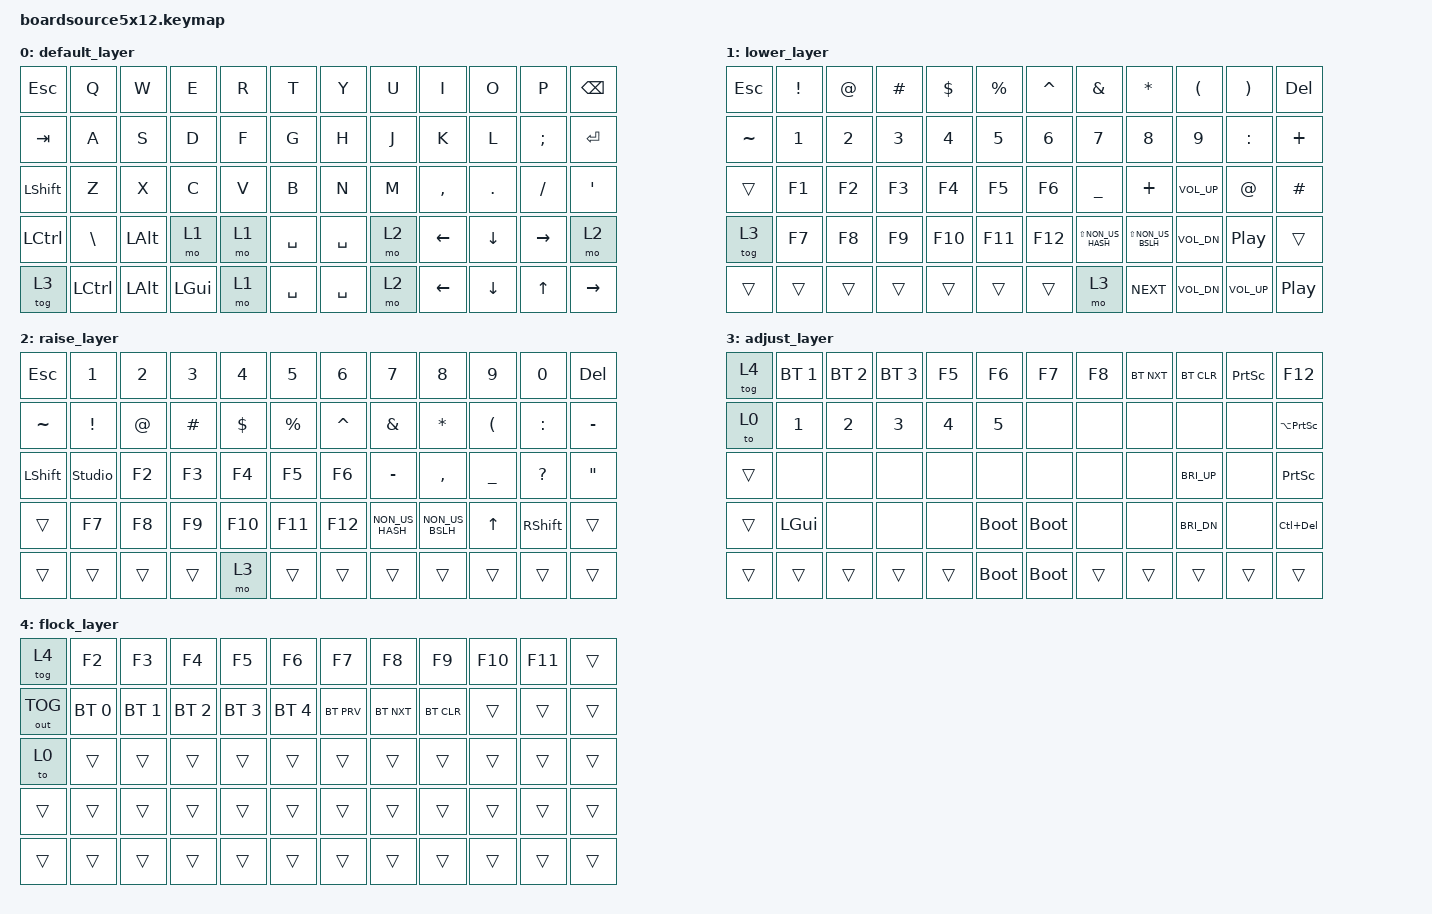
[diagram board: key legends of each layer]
/*
 * Copyright (c) 2021 The ZMK Contributors
 *
 * SPDX-License-Identifier: MIT
 */
 
#include <behaviors.dtsi>
#include <dt-bindings/zmk/keys.h>
#include <dt-bindings/zmk/bt.h>
#include <dt-bindings/zmk/outputs.h>


/ {
    keymap {
        compatible = "zmk,keymap";

        default_layer {
            // ------------------------------------------------------------------------------------------
            // |  ESC  |  Q   |  W   |  E    |  R   |  T   |   Y   |  U    |  I   |  O   |   P   | BSPC  |
            // |  TAB  |  A   |  S   |  D    |  F   |  G   |   H   |  J    |  K   |  L   |   ;   | ENTER |
            // | SHIFT |  Z   |  X   |  C    |  V   |  B   |   N   |  M    |  ,   |  .   |   /   |  '    |
            // | CTRL  |  \   | LALT | LOWR  | LOWR | SPACE| SPACE |  RAIS | LARW | DARW | RARW  | RAIS  |
            // | tog(3)| LCTL | LALT | LGUI  | LOWR | SPACE| SPACE |  RAIS | LARW | DARW | UARW  | RARW  |


            bindings = <
                &kp ESC    &kp Q        &kp W       &kp E    &kp R      &kp T       &kp Y       &kp U   &kp I       &kp O       &kp P       &kp BSPC
                &kp TAB    &kp A        &kp S       &kp D    &kp F      &kp G       &kp H       &kp J   &kp K       &kp L       &kp SEMI    &kp RET
                &kp LSHFT  &kp Z        &kp X       &kp C    &kp V      &kp B       &kp N       &kp M   &kp COMMA   &kp DOT     &kp FSLH    &kp SQT
                &kp LCTRL  &kp BSLH     &kp LALT    &mo 1    &mo 1      &kp SPACE   &kp SPACE   &mo 2   &kp LEFT    &kp DOWN    &kp RIGHT   &mo 2
                &tog 3      &kp LCTRL    &kp LALT    &kp LGUI &mo 1      &kp SPACE   &kp SPACE   &mo 2   &kp LEFT    &kp DOWN    &kp UP      &kp RIGHT 
            >;
        };

        lower_layer {
            // -------------------------------------------------------------------------------------------
            // |  ESC  |  !   |  @   |  #   |  $   |  %   |   ^   |   &   |  *   |  (   |   )   |  DEL  |
            // |   ~   |  1   |  2   |  3   |  4   |  5   |  6    |   7   |  8   |  9   |   :   |   +   |
            // |       |  F1  |  F2  |  F3  |  F4  |  F5  |   F6  |   _   |  +   | Vol+ |   @   |   #   |
            // | tog(3)|  F7  |  F8  |  F9  |  F10 |  F11 |   F12 | LS(#) |LS(|) | Vol- | PLAY  |       |
            // |       |      |      |      |      |      |       |       | NEXT | Vol- | Vol+  | PLAY  |
            bindings = <
                &kp ESC   &kp EXCL &kp AT   &kp HASH &kp DLLR  &kp PRCNT    &kp CARET       &kp AMPS            &kp ASTRK           &kp LPAR     &kp RPAR         &kp DEL
                &kp TILDE &kp N1   &kp N2   &kp N3   &kp N4    &kp N5       &kp N6          &kp N7              &kp N8              &kp N9       &kp COLON        &kp PLUS
                &trans    &kp F1   &kp F2   &kp F3   &kp F4    &kp F5       &kp F6          &kp UNDER           &kp PLUS            &kp C_VOL_UP &kp AT           &kp HASH
                &tog 3    &kp F7   &kp F8   &kp F9   &kp F10   &kp F11      &kp F12         &kp LS(NON_US_HASH) &kp LS(NON_US_BSLH) &kp C_VOL_DN &kp C_PLAY_PAUSE &trans
                &trans   &trans   &trans   &trans    &trans    &trans       &trans          &mo 3               &kp C_NEXT          &kp C_VOL_DN &kp C_VOL_UP     &kp C_PLAY_PAUSE 
            >;
        };

        raise_layer {
            // ------------------------------------------------------------------------------------------
            // |  ESC  |  1   |  2   |  3   |  4   |  5   |   6   |  7    |  8   |  9   |   0   |  DEL  |
            // |   ~   |  !   |  @   |  #   |  $   |  %   |   ^   |   &   |  *   |  (   |   :   |   -   |
            // | SHIFT |  ulk  |  F2  |  F3  |  F4  |  F5  |  F6   |   -   |  ,   |  _   |   ?   |   "   |
            // |       |  F7  |  F8  |  F9  |  F10 |  F11 |  F12  |   #   |  |   | UARW | SHIFT |       |
            // |       |      |      |      |      |      |       |       |      |      |       |       |
            bindings = <
                &kp ESC   &kp N1   &kp N2   &kp N3   &kp N4    &kp N5    &kp N6    &kp N7          &kp N8          &kp N9       &kp N0           &kp DEL
                &kp TILDE &kp EXCL &kp AT   &kp HASH &kp DLLR  &kp PRCNT &kp CARET &kp AMPS        &kp ASTRK       &kp LPAR     &kp COLON        &kp MINUS
                &kp LSHFT &studio_unlock   &kp F2   &kp F3   &kp F4    &kp F5    &kp F6    &kp MINUS       &kp COMMA       &kp UNDER     &kp QMARK        &kp DQT
                &trans    &kp F7   &kp F8   &kp F9   &kp F10   &kp F11   &kp F12   &kp NON_US_HASH &kp NON_US_BSLH &kp UP       &kp RSHFT        &trans
                          &trans   &trans   &trans   &trans    &mo 3     &trans    &trans          &trans          &trans       &trans          &trans       &trans
            >;
        };

        adjust_layer {
            // ------------------------------------------------------------------------------------------
            // |tog(4)|BT_SEL 1|BT_SEL 2|BT_SEL 3|  F5  |  F6  |  F7  |  F8  |BT_NXT|BT_CLR| PRTSN |    F12    |
            // |to (0)|  1     |  2     |  3     |  4   |  5   |  NA  |  NA  |  NA  |  NA  |  NA  |  NA   |LALT(PRTSN)|
            // |      |  NA    |  NA    |  NA    |  NA  |  NA  |  NA  |  NA  |  NA  | Bri+ |  NA   |   PRTSN   |
            // |      | LGUI   |  NA    |  NA    |  NA  |BOOTLD|BOOTLD|  NA  |  NA  | Bri- |  NA   |LCTRL(DEL) |
            // |      |        |        |        |      |BOOTLD|BOOTLD|      |      |      |       |           |
            bindings = <
                &tog 4 &bt BT_SEL 1 &bt BT_SEL 2 &bt BT_SEL 3 &kp F5 &kp F6       &kp F7      &kp F8 &bt BT_NXT &bt BT_CLR     &kp PSCRN &kp F12
                &to  0 &kp N1       &kp N2       &kp N3       &kp N4 &kp N5       &none       &none  &none      &none          &none     &kp LA(PSCRN)
                &trans &none        &none        &none        &none  &none        &none       &none  &none      &kp C_BRI_UP   &none     &kp PSCRN
                &trans &kp LGUI     &none        &none        &none  &bootloader  &bootloader &none  &none      &kp C_BRI_DN   &none     &kp LC(DEL)
                &trans &trans       &trans       &trans       &trans &bootloader  &bootloader &trans &trans     &trans         &trans    &trans
            >;
        };

        flock_layer {
            // ----------------------------------------------------------------------------------------------
            // |tog(4) |  F2    |   F3   |   F4   |   F5   |   F6   |  F7  |  F8  |  F9  | F10 | F11 |      |
            // |out tog|BT_SEL 0|BT_SEL 1|BT_SEL 2|BT_SEL 3|BT_SEL 4|BT_PRV|BT_NXT|BT_CLR|     |     |      |
            // |to (0)|        |        |        |        |        |      |      |      |     |     |      |
            // |       |        |        |        |        |        |      |      |      |     |     |      |
            // |       |        |        |        |        |        |      |      |      |     |     |      |
            bindings = <
                &tog 4       &kp F2       &kp F3       &kp F4       &kp F5       &kp F6       &kp F7     &kp F8     &kp F9     &kp F10 &kp F11 &trans
                &out OUT_TOG &bt BT_SEL 0 &bt BT_SEL 1 &bt BT_SEL 2 &bt BT_SEL 3 &bt BT_SEL 4 &bt BT_PRV &bt BT_NXT &bt BT_CLR &trans  &trans  &trans
                &to 0        &trans       &trans       &trans       &trans       &trans       &trans     &trans     &trans     &trans  &trans  &trans
                &trans       &trans       &trans       &trans       &trans       &trans       &trans     &trans     &trans     &trans  &trans  &trans
                &trans       &trans       &trans       &trans       &trans       &trans       &trans     &trans     &trans     &trans  &trans  &trans
            >;
        };
    };
};
